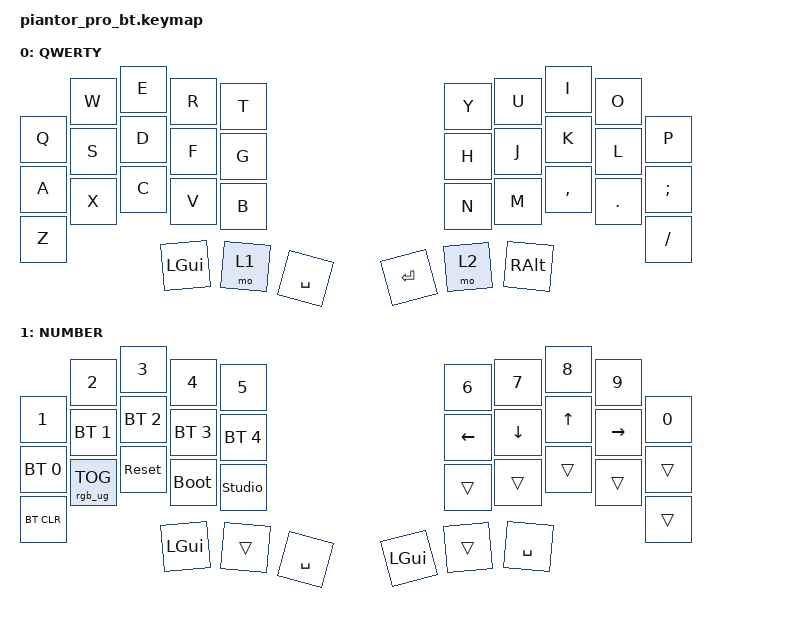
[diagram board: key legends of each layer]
/*
 * Copyright (c) 2020 The ZMK Contributors
 *
 * SPDX-License-Identifier: MIT
 */

#include <behaviors.dtsi>
#include <dt-bindings/zmk/keys.h>
#include <dt-bindings/zmk/bt.h>
#include <dt-bindings/zmk/rgb.h>

/ {
    chosen {
        zmk,physical-layout = &default_layout;
    };
};

/ {
    keymap {
        compatible = "zmk,keymap";

        default_layer {
            display-name = "QWERTY";
            // --------------------------------------------------------------
            // |  Q  |  W  |  E  |  R  |  T  |  Y  |  U   |  I  |  O  |  P  |
            // |  A  |  S  |  D  |  F  |  G  |  H  |  J   |  K  |  L  |  ;  |
            // |  Z  |  X  |  C  |  V  |  B  |  N  |  M   |  ,  |  .  |  /  |
            //                    | GUI | LWR | SPC | ENT | RSE  | ALT |
            bindings = <
                &kp Q &kp W &kp E &kp R &kp T &kp Y &kp U  &kp I     &kp O   &kp P
                &kp A &kp S &kp D &kp F &kp G &kp H &kp J  &kp K     &kp L   &kp SEMI
                &kp Z &kp X &kp C &kp V &kp B &kp N &kp M  &kp COMMA &kp DOT &kp FSLH
                     &kp LGUI &mo 1 &kp SPACE &kp RET &mo 2 &kp RALT
            >;
        };

        lower_layer {
            display-name = "NUMBER";
            // ---------------------------------------------------------------
            // |  1  |  2  |  3  |  4  |  5    |  6  |  7  |  8  |  9  |  0  |
            // | BT1 | BT2 | BT3 | BT4 | BT5   | LFT | DWN |  UP | RGT |     |
            // | BTCR| RGB | RST | BOOT| Unlock|     |     |     |     |     |
            //                    | GUI |     | SPC   | ENT |     | ALT |
            bindings = <
                &kp N1       &kp N2          &kp N3       &kp N4       &kp N5         &kp N6   &kp N7   &kp N8 &kp N9    &kp N0
                &bt BT_SEL 0 &bt BT_SEL 1    &bt BT_SEL 2 &bt BT_SEL 3 &bt BT_SEL 4   &kp LEFT &kp DOWN &kp UP &kp RIGHT &trans
                &bt BT_CLR   &rgb_ug RGB_TOG &sys_reset   &bootloader  &studio_unlock &trans   &trans   &trans &trans    &trans
                                                       &kp LGUI     &trans       &kp SPACE      &kp LGUI &trans   &kp SPACE
            >;
        };
    };
};
